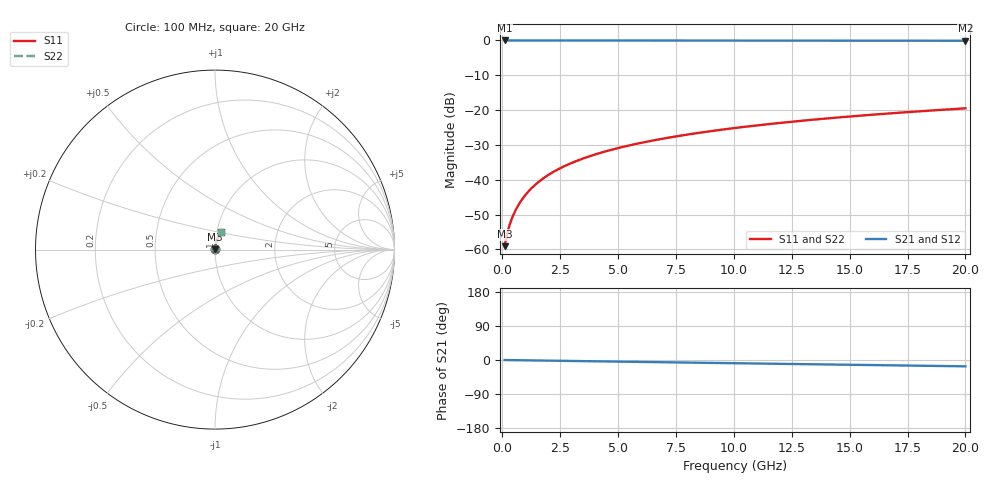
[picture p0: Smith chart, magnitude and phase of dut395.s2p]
! Touchstone file exported from HFSS 2026.1.0
!  File:  C:/ffzhzh/LocalFiles/Ansys_Project_Files/temp_train_TMRDL_395_1783004795_53980.aedt
!  Generated:  11:07:47 PM Jul  2, 2026
!  Design:  TMRDL
!  Project:  temp_train_TMRDL_395_1783004795_53980
! Variables:
!  h_bsmrdl = 2um
!  h_ox = 20um
!  h_rdl = 5um
!  h_sub = 80um
!  h_tmrdl = 4.59um
!  h_tsv = 80um
!  h_via = 3um
!  l_bsmrdl = 300um
!  l_sub = 648.03um
!  l_tmrdl = 248.03um
!  m_sub = 200um
!  pitch = 45.32um
!  r_tsv = 6um
!  s_tmrdl = 10um
!  w_bsmrdl = 18um
!  w_sub = 500um
!  w_tmrdl = 29.94um
!  x_tsv_center1 = 263um
!  x_tsv_center2 = 581um
!  x_tsv_center3 = 858.97um
!  x_tsv_center4 = 1176.97um
!  x_tsv_center5 = 1454.94um
!  x_tsv_center6 = 1772.94um
# GHz S MA R 50.000000
! Terminal data exported
! Port[1] = TM_RDL1_1_T1
! Port[2] = TM_RDL1_1_T2
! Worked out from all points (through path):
!   200 points, 100 MHz to 20 GHz, reference 50 ohm
!   highest |S21| = -0.01 dB at 100 MHz (marker M1); lowest = -0.1 dB at 20 GHz (marker M2)
!   group delay of S21, straight-line fit = 2.32 ps
!   lowest |S11| = -59.1 dB at 100 MHz (marker M3), VSWR 1.00, Z = 50.1 + j0.071 ohm
!   |S11| at or under -10 dB: start of sweep to end of sweep
!   |S22| runs from -59.1 to -19.5 dB; largest |S21 - S12| = 3.2e-15
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0.1  0.001115 39.5  0.9991 -0.1  0.9991 -0.1  0.001115 39.5
! Gamma 0 0 0 0
! Port Impedance 50 0 50 0
0.2  0.001641 54.3  0.999 -0.2  0.999 -0.2  0.001641 54.3
0.3  0.00217 61.8  0.999 -0.3  0.999 -0.3  0.00217 61.8
0.4  0.002704 66.6  0.9989 -0.4  0.9989 -0.4  0.002704 66.6
0.5  0.003247 70.0  0.9989 -0.4  0.9989 -0.4  0.003247 70.0
0.6  0.003799 72.5  0.9989 -0.5  0.9989 -0.5  0.003799 72.5
0.8  0.004922 75.8  0.9988 -0.7  0.9988 -0.7  0.004922 75.8
1.1  0.006633 78.6  0.9988 -1.0  0.9988 -1.0  0.006633 78.6
1.3  0.007781 79.7  0.9987 -1.1  0.9987 -1.1  0.007781 79.7
1.6  0.009506 80.7  0.9986 -1.4  0.9986 -1.4  0.009506 80.7
2.1  0.01237 81.5  0.9985 -1.8  0.9985 -1.8  0.01237 81.5
2.7  0.01578 81.8  0.9982 -2.3  0.9982 -2.3  0.01578 81.8
3.5  0.02027 81.7  0.9979 -3.0  0.9979 -3.0  0.02027 81.7
4.2  0.02414 81.4  0.9976 -3.6  0.9976 -3.6  0.02414 81.4
5  0.02852 81.0  0.9972 -4.3  0.9972 -4.3  0.02852 81.0
5.9  0.03338 80.4  0.9968 -5.0  0.9968 -5.0  0.03338 80.4
6.8  0.03821 79.9  0.9964 -5.8  0.9964 -5.8  0.03821 79.9
8.3  0.04617 78.9  0.9957 -7.0  0.9957 -7.0  0.04617 78.9
10.1  0.05562 77.7  0.9948 -8.5  0.9948 -8.5  0.05562 77.7
13.4  0.07273 75.4  0.9931 -11.3  0.9931 -11.3  0.07273 75.4
16.7  0.08954 73.0  0.9913 -14.0  0.9913 -14.0  0.08954 73.0
20  0.106 70.5  0.9892 -16.7  0.9892 -16.7  0.106 70.5
